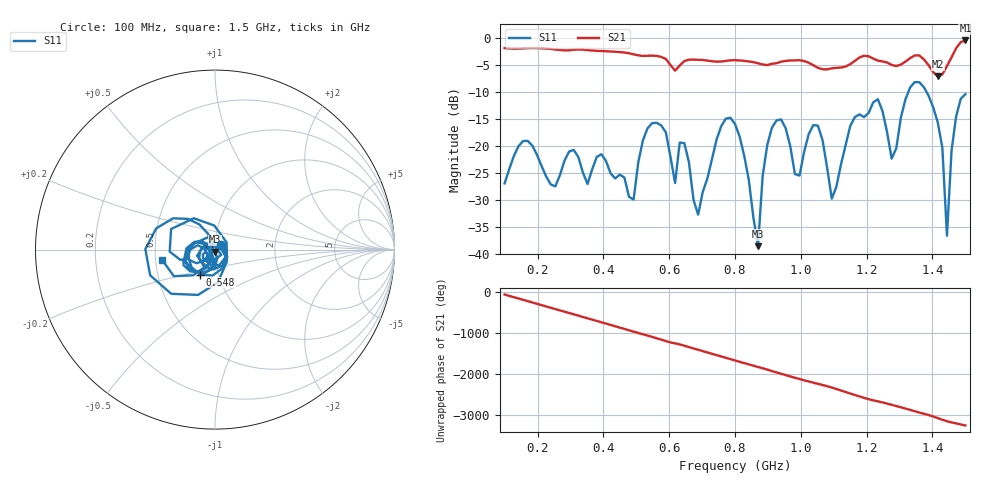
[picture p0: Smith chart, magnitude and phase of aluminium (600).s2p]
! NanoVNA-App
! Date: 2025-09-25 14:59:57
! Start: 100MHz Stop: 1,5GHz Points: 101
! S-Parameter data: F S11 S21 S12 S22
# Hz S RI R 50
!  Frequency  S11_Real  S11_Imag  S21_Real  S21_Imag  S12_Real  S12_Imag  S22_Real  S22_Imag
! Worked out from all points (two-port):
!   101 points, 100 MHz to 1.5 GHz, reference 50 ohm
!   highest |S21| = -0.50 dB at 1.5 GHz (marker M1); lowest = -7.2 dB at 1.416 GHz (marker M2)
!   |S21| within 3 dB of the highest: start of sweep to 572.5 MHz; 1.459 GHz to end of sweep (the widest 2 of 4)
!   lowest |S11| = -38.6 dB at 870 MHz (marker M3), VSWR 1.02, Z = 50.2 - j1.17 ohm
!   |S11| at or under -10 dB: start of sweep to 1.327 GHz; 1.382 GHz to end of sweep
!   S12 and S22 are empty: the file has one direction only
!   S11 on the Smith chart (normalised r, x): 100 MHz: 1.07, +0.06; 548 MHz: 0.82, -0.24; 1.5 GHz: 0.54, -0.07
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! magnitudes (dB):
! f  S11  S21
! 100 MHz  -27.0  -1.9
! 156 MHz  -19.1  -2.0
! 338 MHz  -25.0  -2.2
! 492 MHz  -29.9  -3.1
! 548 MHz  -15.8  -3.3
! 576 MHz  -16.2  -3.5
! 618 MHz  -26.9  -6.1
! 646 MHz  -19.5  -4.3
! 688 MHz  -32.7  -4.1
! 800 MHz  -16.0  -4.1
! 870 MHz  -38.6  -4.7
! 912 MHz  -16.7  -4.8
! 996 MHz  -25.5  -4.2
! 1.038 GHz  -16.2  -5.1
! 1.094 GHz  -29.8  -5.7
! 1.234 GHz  -11.4  -4.2
! 1.276 GHz  -22.4  -5.0
! 1.346 GHz  -8.2  -3.3
! 1.416 GHz  -15.6  -7.2
! 1.444 GHz  -36.6  -5.2
! 1.458 GHz  -20.8  -3.6
! 1.5 GHz  -10.4  -0.5
